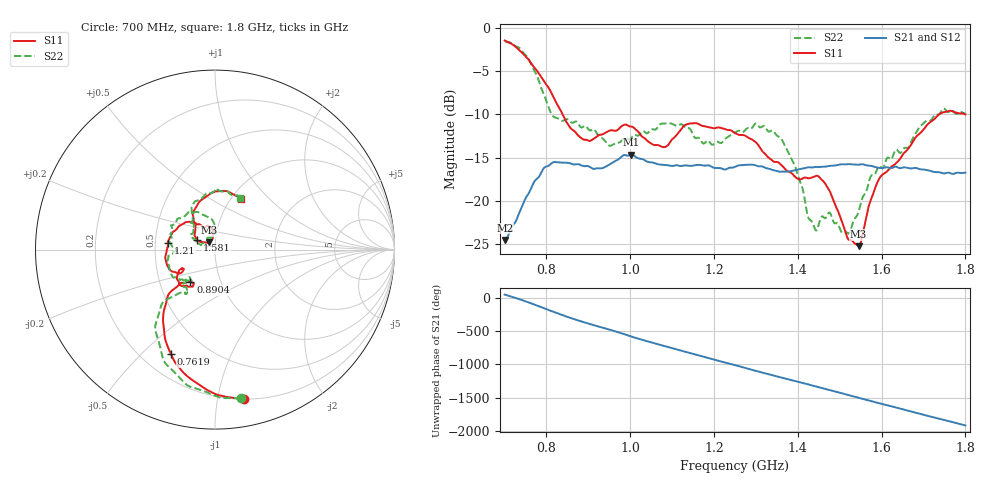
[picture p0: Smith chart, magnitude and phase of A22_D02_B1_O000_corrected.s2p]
! Created with skrf 1.9.0 (http://scikit-rf.org).
# Hz S RI R 50.0
!freq ReS11 ImS11 ReS21 ImS21 ReS12 ImS12 ReS22 ImS22
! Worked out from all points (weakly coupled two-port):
!   1601 points, 700 MHz to 1.8 GHz, reference 50 ohm
!   highest |S21| = -14.68 dB at 1.002 GHz (marker M1); lowest = -24.6 dB at 700.7 MHz (marker M2)
!   lowest |S11| = -25.3 dB at 1.545 GHz (marker M3), VSWR 1.12, Z = 46.4 + j3.86 ohm
!   |S11| at or under -10 dB: 838.3 MHz to 1.737 GHz (898.6 MHz wide, 69.8 % of centre)
!   |S22| runs from -23.8 to -1.5 dB; largest |S21 - S12| = 0.0034
!   S11 on the Smith chart (normalised r, x): 700 MHz: 0.20, -1.19; 761.9 MHz: 0.32, -0.61; 890.4 MHz: 0.72, -0.27; 1.21 GHz: 0.58, +0.05; 1.581 GHz: 0.82, +0.09; 1.8 GHz: 1.12, +0.70
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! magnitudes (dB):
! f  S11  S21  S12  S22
! 700 MHz  -1.4  -24.6  -24.3  -1.5
! 700.7 MHz  -1.4  -24.6  -24.3  -1.5
! 761.9 MHz  -4.0  -18.7  -18.7  -4.0
! 814.8 MHz  -7.8  -15.6  -15.6  -10.2
! 883.6 MHz  -12.8  -15.9  -15.8  -11.5
! 890.4 MHz  -12.9  -16.0  -16.0  -11.3
! 950.9 MHz  -11.9  -15.8  -15.8  -13.6
! 1.002 GHz  -11.4  -14.7  -14.8  -12.7
! 1.067 GHz  -13.6  -15.8  -15.7  -11.4
! 1.137 GHz  -11.1  -15.9  -15.9  -11.6
! 1.21 GHz  -11.5  -16.2  -16.2  -13.2
! 1.25 GHz  -12.2  -16.1  -16.0  -12.1
! 1.3 GHz  -13.3  -15.9  -15.9  -11.1
! 1.359 GHz  -15.8  -16.6  -16.6  -12.7
! 1.434 GHz  -17.3  -16.2  -16.1  -22.5
! 1.471 GHz  -18.5  -16.0  -16.0  -21.6
! 1.52 GHz  -24.4  -15.8  -15.8  -23.8
! 1.545 GHz  -25.3  -15.8  -15.8  -21.3
! 1.581 GHz  -19.0  -16.1  -16.1  -17.0
! 1.617 GHz  -16.4  -16.2  -16.1  -15.0
! 1.738 GHz  -10.0  -16.7  -16.8  -9.9
! 1.8 GHz  -10.0  -16.8  -16.8  -9.9
